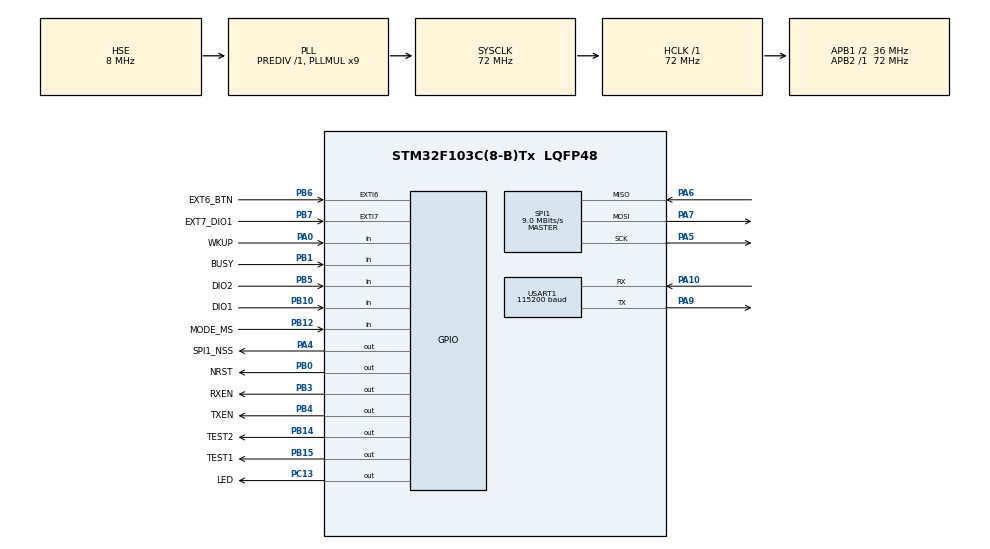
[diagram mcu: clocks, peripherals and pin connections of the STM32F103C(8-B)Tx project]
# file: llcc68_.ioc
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Dma.Request0=USART1_RX
Dma.USART1_RX.0.Direction=DMA_PERIPH_TO_MEMORY
Dma.USART1_RX.0.Instance=DMA1_Channel5
Dma.USART1_RX.0.MemDataAlignment=DMA_MDATAALIGN_BYTE
Dma.USART1_RX.0.MemInc=DMA_MINC_ENABLE
Dma.USART1_RX.0.Mode=DMA_CIRCULAR
Dma.USART1_RX.0.PeriphDataAlignment=DMA_PDATAALIGN_BYTE
Dma.USART1_RX.0.PeriphInc=DMA_PINC_DISABLE
Dma.USART1_RX.0.Priority=DMA_PRIORITY_LOW
Mcu.Family=STM32F1
Mcu.Name=STM32F103C(8-B)Tx
Mcu.Package=LQFP48
NVIC.DMA1_Channel5_IRQn=true\:0\:0\:false\:false\:true\:false\:true
NVIC.EXTI9_5_IRQn=true\:0\:0\:false\:false\:true\:true\:true
NVIC.PriorityGroup=NVIC_PRIORITYGROUP_4
NVIC.SPI1_IRQn=true\:0\:0\:false\:false\:true\:true\:true
NVIC.USART1_IRQn=true\:0\:0\:false\:false\:true\:true\:true
PA0-WKUP.GPIO_Label=WKUP
PA0-WKUP.GPIO_PuPd=GPIO_PULLDOWN
PA0-WKUP.Signal=GPIO_Input
PA10.Mode=Asynchronous
PA10.Signal=USART1_RX
PA13.Mode=Serial_Wire
PA13.Signal=SYS_JTMS-SWDIO
PA14.Mode=Serial_Wire
PA14.Signal=SYS_JTCK-SWCLK
PA4.GPIO_Label=SPI1_NSS
PA4.GPIO_ModeDefaultOutputPP=GPIO_MODE_OUTPUT_PP
PA4.GPIO_PuPd=GPIO_NOPULL
PA4.GPIO_Speed=GPIO_SPEED_FREQ_HIGH
PA4.PinState=GPIO_PIN_SET
PA4.Signal=GPIO_Output
PA5.Mode=Full_Duplex_Master
PA5.Signal=SPI1_SCK
PA6.GPIO_PuPd=GPIO_PULLUP
PA6.Mode=Full_Duplex_Master
PA6.Signal=SPI1_MISO
PA7.Mode=Full_Duplex_Master
PA7.Signal=SPI1_MOSI
PA9.Mode=Asynchronous
PA9.Signal=USART1_TX
PB0.GPIO_Label=NRST
PB0.GPIO_ModeDefaultOutputPP=GPIO_MODE_OUTPUT_PP
PB0.GPIO_PuPd=GPIO_NOPULL
PB0.GPIO_Speed=GPIO_SPEED_FREQ_HIGH
PB0.PinState=GPIO_PIN_RESET
PB0.Signal=GPIO_Output
PB1.GPIO_Label=BUSY
PB1.GPIO_PuPd=GPIO_PULLUP
PB1.Signal=GPIO_Input
PB10.GPIO_Label=DIO1
PB10.GPIO_PuPd=GPIO_PULLUP
PB10.Signal=GPIO_Input
PB12.GPIO_Label=MODE_MS
PB12.GPIO_PuPd=GPIO_PULLUP
PB12.Signal=GPIO_Input
PB14.GPIO_Label=TEST2
PB14.Signal=GPIO_Output
PB15.GPIO_Label=TEST1
PB15.Signal=GPIO_Output
PB3.GPIO_Label=RXEN
PB3.GPIO_PuPd=GPIO_PULLDOWN
PB3.Signal=GPIO_Output
PB4.GPIO_Label=TXEN
PB4.GPIO_PuPd=GPIO_PULLDOWN
PB4.Signal=GPIO_Output
PB5.GPIO_Label=DIO2
PB5.GPIO_PuPd=GPIO_PULLUP
PB5.Signal=GPIO_Input
PB6.GPIO_Label=EXT6_BTN
PB6.GPIO_ModeDefaultEXTI=GPIO_MODE_IT_RISING_FALLING
PB6.GPIO_PuPd=GPIO_PULLUP
PB6.Signal=GPXTI6
PB7.GPIO_Label=EXT7_DIO1
PB7.GPIO_ModeDefaultEXTI=GPIO_MODE_IT_RISING
PB7.GPIO_PuPd=GPIO_NOPULL
PB7.Signal=GPXTI7
PC13-TAMPER-RTC.GPIO_Label=LED
PC13-TAMPER-RTC.GPIO_ModeDefaultOutputPP=GPIO_MODE_OUTPUT_OD
PC13-TAMPER-RTC.Signal=GPIO_Output
PC14-OSC32_IN.Mode=LSE-External-Oscillator
PC14-OSC32_IN.Signal=RCC_OSC32_IN
PC15-OSC32_OUT.Mode=LSE-External-Oscillator
PC15-OSC32_OUT.Signal=RCC_OSC32_OUT
PD0-OSC_IN.Mode=HSE-External-Oscillator
PD0-OSC_IN.Signal=RCC_OSC_IN
PD1-OSC_OUT.Mode=HSE-External-Oscillator
PD1-OSC_OUT.Signal=RCC_OSC_OUT
ProjectManager.HeapSize=0x400
ProjectManager.StackSize=0x800
ProjectManager.TargetToolchain=STM32CubeIDE
RCC.AHBFreq_Value=72000000
RCC.APB1CLKDivider=RCC_HCLK_DIV2
RCC.APB1Freq_Value=36000000
RCC.APB1TimFreq_Value=72000000
RCC.APB2Freq_Value=72000000
RCC.APB2TimFreq_Value=72000000
RCC.HCLKFreq_Value=72000000
RCC.PLLMUL=RCC_PLL_MUL9
RCC.PLLSourceVirtual=RCC_PLLSOURCE_HSE
RCC.SYSCLKFreq_VALUE=72000000
RCC.SYSCLKSource=RCC_SYSCLKSOURCE_PLLCLK
RCC.USBFreq_Value=72000000
RTC.Hours=1
SPI1.BaudRatePrescaler=SPI_BAUDRATEPRESCALER_8
SPI1.CLKPhase=SPI_PHASE_1EDGE
SPI1.CLKPolarity=SPI_POLARITY_LOW
SPI1.CalculateBaudRate=9.0 MBits/s
SPI1.Direction=SPI_DIRECTION_2LINES
SPI1.Mode=SPI_MODE_MASTER
SPI1.VirtualType=VM_MASTER
TIM1.Period=1000
TIM1.Prescaler=360
USART1.BaudRate=115200
USART1.VirtualMode=VM_ASYNC
VP_IWDG_VS_IWDG.Mode=IWDG_Activate
VP_RTC_No_RTC_Output.Mode=RTC_OUT_NO
VP_RTC_VS_RTC_Activate.Mode=RTC_Enabled
VP_RTC_VS_RTC_Calendar.Mode=RTC_Calendar
VP_TIM1_VS_ClockSourceINT.Mode=Internal
board=custom

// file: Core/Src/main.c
/* USER CODE BEGIN Header */
/**
  ******************************************************************************
  * @file           : main.c
  * @brief          : Main program body
  ******************************************************************************
  * @attention
  *
  * <h2><center>&copy; Copyright (c) 2021 STMicroelectronics.
  * All rights reserved.</center></h2>
  *
  * This software component is licensed by ST under BSD 3-Clause license,
  * the "License"; You may not use this file except in compliance with the
  * License. You may obtain a copy of the License at:
  *                        opensource.org/licenses/BSD-3-Clause
  *
  ******************************************************************************
  */

// PA1 - LORA_INT
// PA4 - LORA_CS
// PB0 - LORA_RESET
// PB1 - MODE (0 - receive, 1 - send)

/* USER CODE END Header */
#include "main.h"

/* USER CODE BEGIN Includes */
#include "maincpp.h"
#include "peripheral.h"
#include "rev.h"
#include "LoraDrv.h"
#include "ssm.h"
/* USER CODE END Includes */

IWDG_HandleTypeDef hiwdg;

RTC_HandleTypeDef hrtc;

SPI_HandleTypeDef hspi1;

TIM_HandleTypeDef htim1;

UART_HandleTypeDef huart1;
DMA_HandleTypeDef hdma_usart1_rx;

void SystemClock_Config(void);
static void MX_GPIO_Init(void);
static void MX_DMA_Init(void);
static void MX_SPI1_Init(void);
static void MX_USART1_UART_Init(void);
static void MX_TIM1_Init(void);
static void MX_IWDG_Init(void);
static void MX_RTC_Init(void);

/* USER CODE BEGIN 0 */

////

/* USER CODE END 0 */

int main(void)
{

  /* MCU Configuration--------------------------------------------------------*/

  /* Reset of all peripherals, Initializes the Flash interface and the Systick. */
  HAL_Init();

  /* Configure the system clock */
  SystemClock_Config();

  /* Initialize all configured peripherals */
  MX_GPIO_Init();
  MX_DMA_Init();
  MX_SPI1_Init();
  MX_USART1_UART_Init();
  MX_TIM1_Init();
  MX_IWDG_Init();
  MX_RTC_Init();
  /* USER CODE BEGIN 2 */

 // maincpp();

   //__HAL_PWR_GET_FLAG
  //PWR_FLAG_WU
  //PWR_FLAG_SB
  //PWR_FLAG_PVDO
 // int cn=0;
 /* while(1)
  { if(!__HAL_PWR_GET_FLAG(PWR_FLAG_WU))	break;
   __HAL_PWR_CLEAR_FLAG(PWR_FLAG_WU);
   cn++;
  }
  printf("Reset Flags[%d]: %s, %s, %s\n",cn,__HAL_PWR_GET_FLAG(PWR_FLAG_WU)?"PWR_FLAG_WU":" ",
  		  	  	  	  	  	  	  	  __HAL_PWR_GET_FLAG(PWR_FLAG_SB)?"PWR_FLAG_SB":" ",
  		  	  	  	  	  	  	  	  __HAL_PWR_GET_FLAG(PWR_FLAG_PVDO)?"PWR_FLAG_PVDO":" ");
 */
  __HAL_PWR_CLEAR_FLAG(PWR_FLAG_SB);
  HAL_PWR_EnableWakeUpPin(PWR_WAKEUP_PIN1);  //Просыпаемся по RTC Alarm или WKUP pin

  mainloop();

  /* USER CODE END 2 */

  /* Infinite loop */

}

void SystemClock_Config(void)
{
  RCC_OscInitTypeDef RCC_OscInitStruct = {0};
  RCC_ClkInitTypeDef RCC_ClkInitStruct = {0};
  RCC_PeriphCLKInitTypeDef PeriphClkInit = {0};

  /** Initializes the RCC Oscillators according to the specified parameters
  * in the RCC_OscInitTypeDef structure.
  */
  RCC_OscInitStruct.OscillatorType = RCC_OSCILLATORTYPE_LSI|RCC_OSCILLATORTYPE_HSE;
  RCC_OscInitStruct.HSEState = RCC_HSE_ON;
  RCC_OscInitStruct.HSEPredivValue = RCC_HSE_PREDIV_DIV1;
  RCC_OscInitStruct.HSIState = RCC_HSI_ON;
  RCC_OscInitStruct.LSIState = RCC_LSI_ON;
  RCC_OscInitStruct.PLL.PLLState = RCC_PLL_ON;
  RCC_OscInitStruct.PLL.PLLSource = RCC_PLLSOURCE_HSE;
  RCC_OscInitStruct.PLL.PLLMUL = RCC_PLL_MUL9;
  if (HAL_RCC_OscConfig(&RCC_OscInitStruct) != HAL_OK)
  {
    Error_Handler();
  }
  /** Initializes the CPU, AHB and APB buses clocks
  */
  RCC_ClkInitStruct.ClockType = RCC_CLOCKTYPE_HCLK|RCC_CLOCKTYPE_SYSCLK
                              |RCC_CLOCKTYPE_PCLK1|RCC_CLOCKTYPE_PCLK2;
  RCC_ClkInitStruct.SYSCLKSource = RCC_SYSCLKSOURCE_PLLCLK;
  RCC_ClkInitStruct.AHBCLKDivider = RCC_SYSCLK_DIV1;
  RCC_ClkInitStruct.APB1CLKDivider = RCC_HCLK_DIV2;
  RCC_ClkInitStruct.APB2CLKDivider = RCC_HCLK_DIV1;

  if (HAL_RCC_ClockConfig(&RCC_ClkInitStruct, FLASH_LATENCY_2) != HAL_OK)
  {
    Error_Handler();
  }
  PeriphClkInit.PeriphClockSelection = RCC_PERIPHCLK_RTC;
  PeriphClkInit.RTCClockSelection = RCC_RTCCLKSOURCE_LSI;
  if (HAL_RCCEx_PeriphCLKConfig(&PeriphClkInit) != HAL_OK)
  {
    Error_Handler();
  }
}

static void MX_IWDG_Init(void)
{

  /* USER CODE BEGIN IWDG_Init 1 */
#ifdef USE_IWDG
  /* USER CODE END IWDG_Init 1 */
  hiwdg.Instance = IWDG;
  hiwdg.Init.Prescaler = IWDG_PRESCALER_4;
  hiwdg.Init.Reload = 4095;
  if (HAL_IWDG_Init(&hiwdg) != HAL_OK)
  {
    Error_Handler();
  }
  /* USER CODE BEGIN IWDG_Init 2 */
#endif
  /* USER CODE END IWDG_Init 2 */

}

static void MX_RTC_Init(void)
{

  /* USER CODE BEGIN RTC_Init 0 */

	RTC_AlarmTypeDef Alarm;

  /* USER CODE END RTC_Init 0 */

  RTC_TimeTypeDef sTime = {0};
  RTC_DateTypeDef DateToUpdate = {0};

  /** Initialize RTC Only
  */
  hrtc.Instance = RTC;
  hrtc.Init.AsynchPrediv = RTC_AUTO_1_SECOND;
  hrtc.Init.OutPut = RTC_OUTPUTSOURCE_NONE;
  if (HAL_RTC_Init(&hrtc) != HAL_OK)
  {
    Error_Handler();
  }

  /** Initialize RTC and set the Time and Date
  */
  sTime.Hours = 0x1;
  sTime.Minutes = 0x0;
  sTime.Seconds = 0x0;

  if (HAL_RTC_SetTime(&hrtc, &sTime, RTC_FORMAT_BCD) != HAL_OK)
  {
    Error_Handler();
  }
  DateToUpdate.WeekDay = RTC_WEEKDAY_MONDAY;
  DateToUpdate.Month = RTC_MONTH_JANUARY;
  DateToUpdate.Date = 0x1;
  DateToUpdate.Year = 0x0;

  if (HAL_RTC_SetDate(&hrtc, &DateToUpdate, RTC_FORMAT_BCD) != HAL_OK)
  {
    Error_Handler();
  }
  /* USER CODE BEGIN RTC_Init 2 */
  Alarm.AlarmTime.Hours=1;
  Alarm.AlarmTime.Minutes=0;
  Alarm.AlarmTime.Seconds=30;
  Alarm.Alarm=RTC_ALARM_A;

  if(HAL_RTC_SetAlarm(&hrtc, &Alarm, RTC_FORMAT_BCD)!= HAL_OK)
   {
     Error_Handler();
   }

  /* USER CODE END RTC_Init 2 */

}

static void MX_SPI1_Init(void)
{

  /* SPI1 parameter configuration*/
  hspi1.Instance = SPI1;
  hspi1.Init.Mode = SPI_MODE_MASTER;
  hspi1.Init.Direction = SPI_DIRECTION_2LINES;
  hspi1.Init.DataSize = SPI_DATASIZE_8BIT;
  hspi1.Init.CLKPolarity = SPI_POLARITY_LOW;
  hspi1.Init.CLKPhase = SPI_PHASE_1EDGE;
  hspi1.Init.NSS = SPI_NSS_SOFT;
  hspi1.Init.BaudRatePrescaler = SPI_BAUDRATEPRESCALER_8;
  hspi1.Init.FirstBit = SPI_FIRSTBIT_MSB;
  hspi1.Init.TIMode = SPI_TIMODE_DISABLE;
  hspi1.Init.CRCCalculation = SPI_CRCCALCULATION_DISABLE;
  hspi1.Init.CRCPolynomial = 10;
  if (HAL_SPI_Init(&hspi1) != HAL_OK)
  {
    Error_Handler();
  }

}

static void MX_TIM1_Init(void)
{

  TIM_ClockConfigTypeDef sClockSourceConfig = {0};
  TIM_MasterConfigTypeDef sMasterConfig = {0};

  htim1.Instance = TIM1;
  htim1.Init.Prescaler = 360;
  htim1.Init.CounterMode = TIM_COUNTERMODE_UP;
  htim1.Init.Period = 1000;
  htim1.Init.ClockDivision = TIM_CLOCKDIVISION_DIV1;
  htim1.Init.RepetitionCounter = 0;
  htim1.Init.AutoReloadPreload = TIM_AUTORELOAD_PRELOAD_DISABLE;
  if (HAL_TIM_Base_Init(&htim1) != HAL_OK)
  {
    Error_Handler();
  }
  sClockSourceConfig.ClockSource = TIM_CLOCKSOURCE_INTERNAL;
  if (HAL_TIM_ConfigClockSource(&htim1, &sClockSourceConfig) != HAL_OK)
  {
    Error_Handler();
  }
  sMasterConfig.MasterOutputTrigger = TIM_TRGO_RESET;
  sMasterConfig.MasterSlaveMode = TIM_MASTERSLAVEMODE_DISABLE;
  if (HAL_TIMEx_MasterConfigSynchronization(&htim1, &sMasterConfig) != HAL_OK)
  {
    Error_Handler();
  }

}

static void MX_USART1_UART_Init(void)
{

  huart1.Instance = USART1;
  huart1.Init.BaudRate = 115200;
  huart1.Init.WordLength = UART_WORDLENGTH_8B;
  huart1.Init.StopBits = UART_STOPBITS_1;
  huart1.Init.Parity = UART_PARITY_NONE;
  huart1.Init.Mode = UART_MODE_TX_RX;
  huart1.Init.HwFlowCtl = UART_HWCONTROL_NONE;
  huart1.Init.OverSampling = UART_OVERSAMPLING_16;
  if (HAL_UART_Init(&huart1) != HAL_OK)
  {
    Error_Handler();
  }

}

static void MX_DMA_Init(void)
{

  /* DMA controller clock enable */
  __HAL_RCC_DMA1_CLK_ENABLE();

  /* DMA interrupt init */
  /* DMA1_Channel5_IRQn interrupt configuration */
  HAL_NVIC_SetPriority(DMA1_Channel5_IRQn, 0, 0);
  HAL_NVIC_EnableIRQ(DMA1_Channel5_IRQn);

}

static void MX_GPIO_Init(void)
{
  GPIO_InitTypeDef GPIO_InitStruct = {0};

  /* GPIO Ports Clock Enable */
  __HAL_RCC_GPIOC_CLK_ENABLE();
  __HAL_RCC_GPIOD_CLK_ENABLE();
  __HAL_RCC_GPIOA_CLK_ENABLE();
  __HAL_RCC_GPIOB_CLK_ENABLE();

  /*Configure GPIO pin Output Level */
  HAL_GPIO_WritePin(LED_GPIO_Port, LED_Pin, GPIO_PIN_RESET);

  /*Configure GPIO pin Output Level */
  HAL_GPIO_WritePin(SPI1_NSS_GPIO_Port, SPI1_NSS_Pin, GPIO_PIN_SET);

  /*Configure GPIO pin Output Level */
  HAL_GPIO_WritePin(GPIOB, NRST_Pin|TEST2_Pin|TEST1_Pin|RXEN_Pin
                          |TXEN_Pin, GPIO_PIN_RESET);

  /*Configure GPIO pin : LED_Pin */
  GPIO_InitStruct.Pin = LED_Pin;
  GPIO_InitStruct.Mode = GPIO_MODE_OUTPUT_OD;
  GPIO_InitStruct.Pull = GPIO_NOPULL;
  GPIO_InitStruct.Speed = GPIO_SPEED_FREQ_LOW;
  HAL_GPIO_Init(LED_GPIO_Port, &GPIO_InitStruct);

  /*Configure GPIO pin : WKUP_Pin */
  GPIO_InitStruct.Pin = WKUP_Pin;
  GPIO_InitStruct.Mode = GPIO_MODE_INPUT;
  GPIO_InitStruct.Pull = GPIO_PULLDOWN;
  HAL_GPIO_Init(WKUP_GPIO_Port, &GPIO_InitStruct);

  /*Configure GPIO pin : SPI1_NSS_Pin */
  GPIO_InitStruct.Pin = SPI1_NSS_Pin;
  GPIO_InitStruct.Mode = GPIO_MODE_OUTPUT_PP;
  GPIO_InitStruct.Pull = GPIO_NOPULL;
  GPIO_InitStruct.Speed = GPIO_SPEED_FREQ_HIGH;
  HAL_GPIO_Init(SPI1_NSS_GPIO_Port, &GPIO_InitStruct);

  /*Configure GPIO pin : NRST_Pin */
  GPIO_InitStruct.Pin = NRST_Pin;
  GPIO_InitStruct.Mode = GPIO_MODE_OUTPUT_PP;
  GPIO_InitStruct.Pull = GPIO_NOPULL;
  GPIO_InitStruct.Speed = GPIO_SPEED_FREQ_HIGH;
  HAL_GPIO_Init(NRST_GPIO_Port, &GPIO_InitStruct);

  /*Configure GPIO pins : BUSY_Pin DIO1_Pin MODE_MS_Pin DIO2_Pin */
  GPIO_InitStruct.Pin = BUSY_Pin|DIO1_Pin|MODE_MS_Pin|DIO2_Pin;
  GPIO_InitStruct.Mode = GPIO_MODE_INPUT;
  GPIO_InitStruct.Pull = GPIO_PULLUP;
  HAL_GPIO_Init(GPIOB, &GPIO_InitStruct);

  /*Configure GPIO pins : TEST2_Pin TEST1_Pin */
  GPIO_InitStruct.Pin = TEST2_Pin|TEST1_Pin;
  GPIO_InitStruct.Mode = GPIO_MODE_OUTPUT_PP;
  GPIO_InitStruct.Pull = GPIO_NOPULL;
  GPIO_InitStruct.Speed = GPIO_SPEED_FREQ_LOW;
  HAL_GPIO_Init(GPIOB, &GPIO_InitStruct);

  /*Configure GPIO pins : RXEN_Pin TXEN_Pin */
  GPIO_InitStruct.Pin = RXEN_Pin|TXEN_Pin;
  GPIO_InitStruct.Mode = GPIO_MODE_OUTPUT_PP;
  GPIO_InitStruct.Pull = GPIO_PULLDOWN;
  GPIO_InitStruct.Speed = GPIO_SPEED_FREQ_LOW;
  HAL_GPIO_Init(GPIOB, &GPIO_InitStruct);

  /*Configure GPIO pin : EXT6_BTN_Pin */
  GPIO_InitStruct.Pin = EXT6_BTN_Pin;
  GPIO_InitStruct.Mode = GPIO_MODE_IT_RISING_FALLING;
  GPIO_InitStruct.Pull = GPIO_PULLUP;
  HAL_GPIO_Init(EXT6_BTN_GPIO_Port, &GPIO_InitStruct);

  /*Configure GPIO pin : EXT7_DIO1_Pin */
  GPIO_InitStruct.Pin = EXT7_DIO1_Pin;
  GPIO_InitStruct.Mode = GPIO_MODE_IT_RISING;
  GPIO_InitStruct.Pull = GPIO_NOPULL;
  HAL_GPIO_Init(EXT7_DIO1_GPIO_Port, &GPIO_InitStruct);

  /* EXTI interrupt init*/
  HAL_NVIC_SetPriority(EXTI9_5_IRQn, 0, 0);
  HAL_NVIC_EnableIRQ(EXTI9_5_IRQn);

}

void Error_Handler(void)
{
  __disable_irq();
  while (1)
  {
  }
}

/************************ (C) COPYRIGHT STMicroelectronics *****END OF FILE****/
